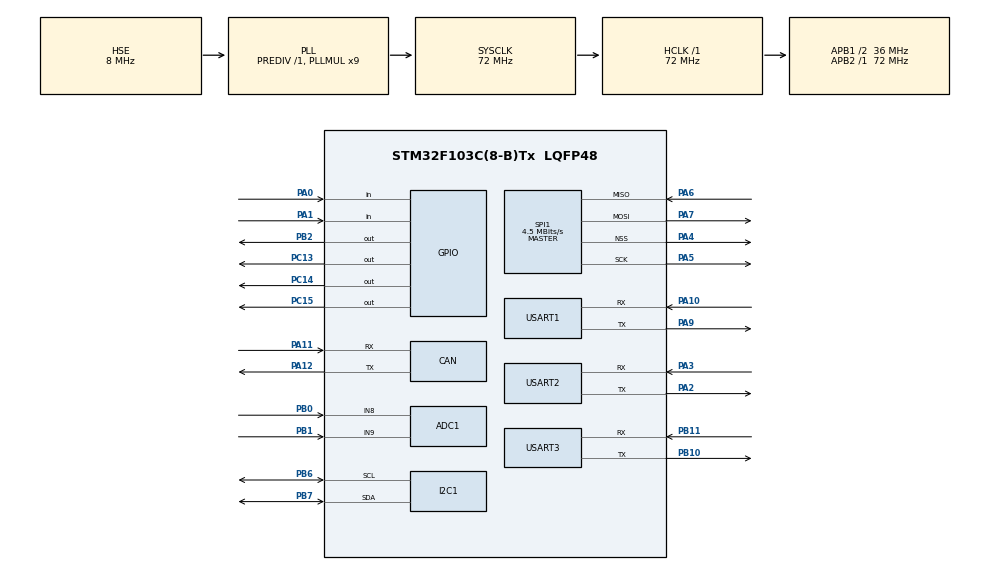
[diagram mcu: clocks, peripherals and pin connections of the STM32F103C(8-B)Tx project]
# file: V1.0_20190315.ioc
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ADC1.Channel-0\#ChannelRegularConversion=ADC_CHANNEL_9
ADC1.NbrOfConversionFlag=1
ADC1.Rank-0\#ChannelRegularConversion=1
ADC1.SamplingTime-0\#ChannelRegularConversion=ADC_SAMPLETIME_1CYCLE_5
ADC1.master=1
CAN.CalculateTimeBit=1333
CAN.CalculateTimeQuantum=444.44444444444446
Dma.ADC1.0.Direction=DMA_PERIPH_TO_MEMORY
Dma.ADC1.0.Instance=DMA1_Channel1
Dma.ADC1.0.MemDataAlignment=DMA_MDATAALIGN_HALFWORD
Dma.ADC1.0.MemInc=DMA_MINC_ENABLE
Dma.ADC1.0.Mode=DMA_NORMAL
Dma.ADC1.0.PeriphDataAlignment=DMA_PDATAALIGN_HALFWORD
Dma.ADC1.0.PeriphInc=DMA_PINC_DISABLE
Dma.ADC1.0.Priority=DMA_PRIORITY_LOW
Dma.Request0=ADC1
Dma.Request1=USART1_RX
Dma.Request2=USART1_TX
Dma.Request3=USART2_RX
Dma.Request4=USART2_TX
Dma.Request5=SPI1_RX
Dma.Request6=SPI1_TX
Dma.SPI1_RX.5.Direction=DMA_PERIPH_TO_MEMORY
Dma.SPI1_RX.5.Instance=DMA1_Channel2
Dma.SPI1_RX.5.MemDataAlignment=DMA_MDATAALIGN_BYTE
Dma.SPI1_RX.5.MemInc=DMA_MINC_ENABLE
Dma.SPI1_RX.5.Mode=DMA_NORMAL
Dma.SPI1_RX.5.PeriphDataAlignment=DMA_PDATAALIGN_BYTE
Dma.SPI1_RX.5.PeriphInc=DMA_PINC_DISABLE
Dma.SPI1_RX.5.Priority=DMA_PRIORITY_LOW
Dma.SPI1_TX.6.Direction=DMA_MEMORY_TO_PERIPH
Dma.SPI1_TX.6.Instance=DMA1_Channel3
Dma.SPI1_TX.6.MemDataAlignment=DMA_MDATAALIGN_BYTE
Dma.SPI1_TX.6.MemInc=DMA_MINC_ENABLE
Dma.SPI1_TX.6.Mode=DMA_NORMAL
Dma.SPI1_TX.6.PeriphDataAlignment=DMA_PDATAALIGN_BYTE
Dma.SPI1_TX.6.PeriphInc=DMA_PINC_DISABLE
Dma.SPI1_TX.6.Priority=DMA_PRIORITY_LOW
Dma.USART1_RX.1.Direction=DMA_PERIPH_TO_MEMORY
Dma.USART1_RX.1.Instance=DMA1_Channel5
Dma.USART1_RX.1.MemDataAlignment=DMA_MDATAALIGN_BYTE
Dma.USART1_RX.1.MemInc=DMA_MINC_ENABLE
Dma.USART1_RX.1.Mode=DMA_NORMAL
Dma.USART1_RX.1.PeriphDataAlignment=DMA_PDATAALIGN_BYTE
Dma.USART1_RX.1.PeriphInc=DMA_PINC_DISABLE
Dma.USART1_RX.1.Priority=DMA_PRIORITY_LOW
Dma.USART1_TX.2.Direction=DMA_MEMORY_TO_PERIPH
Dma.USART1_TX.2.Instance=DMA1_Channel4
Dma.USART1_TX.2.MemDataAlignment=DMA_MDATAALIGN_BYTE
Dma.USART1_TX.2.MemInc=DMA_MINC_ENABLE
Dma.USART1_TX.2.Mode=DMA_NORMAL
Dma.USART1_TX.2.PeriphDataAlignment=DMA_PDATAALIGN_BYTE
Dma.USART1_TX.2.PeriphInc=DMA_PINC_DISABLE
Dma.USART1_TX.2.Priority=DMA_PRIORITY_LOW
Dma.USART2_RX.3.Direction=DMA_PERIPH_TO_MEMORY
Dma.USART2_RX.3.Instance=DMA1_Channel6
Dma.USART2_RX.3.MemDataAlignment=DMA_MDATAALIGN_BYTE
Dma.USART2_RX.3.MemInc=DMA_MINC_ENABLE
Dma.USART2_RX.3.Mode=DMA_NORMAL
Dma.USART2_RX.3.PeriphDataAlignment=DMA_PDATAALIGN_BYTE
Dma.USART2_RX.3.PeriphInc=DMA_PINC_DISABLE
Dma.USART2_RX.3.Priority=DMA_PRIORITY_LOW
Dma.USART2_TX.4.Direction=DMA_MEMORY_TO_PERIPH
Dma.USART2_TX.4.Instance=DMA1_Channel7
Dma.USART2_TX.4.MemDataAlignment=DMA_MDATAALIGN_BYTE
Dma.USART2_TX.4.MemInc=DMA_MINC_ENABLE
Dma.USART2_TX.4.Mode=DMA_NORMAL
Dma.USART2_TX.4.PeriphDataAlignment=DMA_PDATAALIGN_BYTE
Dma.USART2_TX.4.PeriphInc=DMA_PINC_DISABLE
Dma.USART2_TX.4.Priority=DMA_PRIORITY_LOW
Mcu.Family=STM32F1
Mcu.Name=STM32F103C(8-B)Tx
Mcu.Package=LQFP48
NVIC.ADC1_2_IRQn=true\:0\:0\:false\:false\:true\:true\:true
NVIC.DMA1_Channel1_IRQn=true\:0\:0\:false\:false\:true\:false\:true
NVIC.DMA1_Channel2_IRQn=true\:0\:0\:false\:false\:true\:false\:true
NVIC.DMA1_Channel3_IRQn=true\:0\:0\:false\:false\:true\:false\:true
NVIC.DMA1_Channel4_IRQn=true\:0\:0\:false\:false\:true\:false\:true
NVIC.DMA1_Channel5_IRQn=true\:0\:0\:false\:false\:true\:false\:true
NVIC.DMA1_Channel6_IRQn=true\:0\:0\:false\:false\:true\:false\:true
NVIC.DMA1_Channel7_IRQn=true\:0\:0\:false\:false\:true\:false\:true
NVIC.I2C1_EV_IRQn=true\:0\:0\:false\:false\:true\:true\:true
NVIC.PriorityGroup=NVIC_PRIORITYGROUP_4
NVIC.SPI1_IRQn=true\:0\:0\:false\:false\:true\:true\:true
NVIC.TIM1_UP_IRQn=true\:0\:0\:false\:false\:true\:true\:true
NVIC.TIM2_IRQn=true\:0\:0\:false\:false\:true\:true\:true
NVIC.TIM3_IRQn=true\:0\:0\:false\:false\:true\:true\:true
NVIC.TIM4_IRQn=true\:0\:0\:false\:false\:true\:true\:true
NVIC.USART1_IRQn=true\:0\:0\:false\:false\:true\:true\:true
NVIC.USART2_IRQn=true\:0\:0\:false\:false\:true\:true\:true
NVIC.USART3_IRQn=true\:0\:0\:false\:false\:true\:true\:true
NVIC.USB_HP_CAN1_TX_IRQn=true\:0\:0\:false\:false\:true\:true\:true
NVIC.USB_LP_CAN1_RX0_IRQn=true\:0\:0\:false\:false\:true\:true\:true
PA0-WKUP.Signal=GPIO_Input
PA1.Signal=GPIO_Input
PA10.Mode=Asynchronous
PA10.Signal=USART1_RX
PA11.Mode=Master
PA11.Signal=CAN_RX
PA12.Mode=Master
PA12.Signal=CAN_TX
PA13.Mode=Serial_Wire
PA13.Signal=SYS_JTMS-SWDIO
PA14.Mode=Serial_Wire
PA14.Signal=SYS_JTCK-SWCLK
PA2.Mode=Asynchronous
PA2.Signal=USART2_TX
PA3.Mode=Asynchronous
PA3.Signal=USART2_RX
PA4.Mode=NSS_Signal_Hard_Output
PA4.Signal=SPI1_NSS
PA5.Mode=Full_Duplex_Master
PA5.Signal=SPI1_SCK
PA6.Mode=Full_Duplex_Master
PA6.Signal=SPI1_MISO
PA7.Mode=Full_Duplex_Master
PA7.Signal=SPI1_MOSI
PA9.Mode=Asynchronous
PA9.Signal=USART1_TX
PB0.Signal=ADCx_IN8
PB1.Signal=ADCx_IN9
PB10.Mode=Asynchronous
PB10.Signal=USART3_TX
PB11.Mode=Asynchronous
PB11.Signal=USART3_RX
PB2.Signal=GPIO_Output
PB6.Mode=I2C
PB6.Signal=I2C1_SCL
PB7.Mode=I2C
PB7.Signal=I2C1_SDA
PC13-TAMPER-RTC.Signal=GPIO_Output
PC14-OSC32_IN.Signal=GPIO_Output
PC15-OSC32_OUT.Signal=GPIO_Output
PD0-OSC_IN.Mode=HSE-External-Oscillator
PD0-OSC_IN.Signal=RCC_OSC_IN
PD1-OSC_OUT.Mode=HSE-External-Oscillator
PD1-OSC_OUT.Signal=RCC_OSC_OUT
ProjectManager.HeapSize=0x200
ProjectManager.StackSize=0x400
ProjectManager.TargetToolchain=MDK-ARM V5
RCC.ADCPresc=RCC_ADCPCLK2_DIV6
RCC.AHBFreq_Value=72000000
RCC.APB1CLKDivider=RCC_HCLK_DIV2
RCC.APB1Freq_Value=36000000
RCC.APB1TimFreq_Value=72000000
RCC.APB2Freq_Value=72000000
RCC.APB2TimFreq_Value=72000000
RCC.HCLKFreq_Value=72000000
RCC.PLLMUL=RCC_PLL_MUL9
RCC.PLLSourceVirtual=RCC_PLLSOURCE_HSE
RCC.SYSCLKFreq_VALUE=72000000
RCC.SYSCLKSource=RCC_SYSCLKSOURCE_PLLCLK
RCC.USBFreq_Value=48000000
RCC.USBPrescaler=RCC_USBCLKSOURCE_PLL_DIV1_5
SH.ADCx_IN8.0=ADC1_IN8,IN8
SH.ADCx_IN9.0=ADC1_IN9,IN9
SPI1.BaudRatePrescaler=SPI_BAUDRATEPRESCALER_16
SPI1.CalculateBaudRate=4.5 MBits/s
SPI1.Direction=SPI_DIRECTION_2LINES
SPI1.Mode=SPI_MODE_MASTER
SPI1.VirtualNSS=VM_NSSHARD
SPI1.VirtualType=VM_MASTER
USART1.VirtualMode=VM_ASYNC
USART2.VirtualMode=VM_ASYNC
USART3.VirtualMode=VM_ASYNC
VP_TIM1_VS_ClockSourceINT.Mode=Internal
VP_TIM2_VS_ClockSourceINT.Mode=Internal
VP_TIM3_VS_ClockSourceINT.Mode=Internal
VP_TIM4_VS_ClockSourceINT.Mode=Internal
board=custom

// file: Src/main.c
/* USER CODE BEGIN Header */
/**
  ******************************************************************************
  * @file           : main.c
  * @brief          : Main program body
  ******************************************************************************
  * @attention
  *
  * <h2><center>&copy; Copyright (c) 2019 STMicroelectronics.
  * All rights reserved.</center></h2>
  *
  * This software component is licensed by ST under Ultimate Liberty license
  * SLA0044, the "License"; You may not use this file except in compliance with
  * the License. You may obtain a copy of the License at:
  *                             www.st.com/SLA0044
  *
  ******************************************************************************
  */
/* USER CODE END Header */

#include "main.h"
#include "adc.h"
#include "can.h"
#include "dma.h"
#include "i2c.h"
#include "spi.h"
#include "tim.h"
#include "usart.h"
#include "gpio.h"

/* USER CODE BEGIN Includes */
#include "User_usart.h"
#include "w5500_conf.h"
#include "socket.h"
#include "w5500.h"
#include "tcp_demo.h"
/* USER CODE END Includes */

/* USER CODE BEGIN PM */
int Crc16(volatile uint8_t *ptr, int count);
/* USER CODE END PM */

/* USER CODE BEGIN PV */

void mainP(uint8_t * muchp_addr);
uint8_t ABC[4]={0X12 ,0X34 ,0X56 ,0X78 };
uint8_t *ABP = ABC;
uint8_t gucha_macrx_6[6];
uint32_t gui_mac_data=0;
uint16_t gun_mac_data=0;
uint8_t guch_mac_data=0;
/* USER CODE END PV */

void SystemClock_Config(void);
/* USER CODE BEGIN PFP */
uint8_t sent_uart1[]="this is a test for uart1\r\n";
/* USER CODE END PFP */

/* USER CODE BEGIN 0 */
extern UART_HandleTypeDef huart1;
extern UART_HandleTypeDef huart2;
extern UART_HandleTypeDef huart3;

extern SPI_HandleTypeDef hspi1;
/* USER CODE END 0 */

int main(void)
{

  /* MCU Configuration--------------------------------------------------------*/

  /* Reset of all peripherals, Initializes the Flash interface and the Systick. */
  HAL_Init();

  /* Configure the system clock */
  SystemClock_Config();

  /* USER CODE BEGIN SysInit */
 // vFN_SPI1GPIO_Init();
  vFN_W5500GPIO_Init();
  /* USER CODE END SysInit */

  /* Initialize all configured peripherals */
  MX_GPIO_Init();
  MX_DMA_Init();
  MX_ADC1_Init();
  MX_CAN_Init();
  MX_I2C1_Init();
  MX_SPI1_Init();
  MX_TIM1_Init();
  MX_TIM2_Init();
  MX_TIM3_Init();
  MX_TIM4_Init();
  MX_USART1_UART_Init();
  MX_USART2_UART_Init();
  MX_USART3_UART_Init();
  /* USER CODE BEGIN 2 */

  HAL_UART_Receive_DMA(&huart1,gT_rx1buf.ucha_rx_80,80);//接收DMA串口1，空闲中断方式接�?
  W5500_SPI1CS_ON_GPIO_LOW;

  HAL_SPI_Transmit(&hspi1, gT_rx1buf.ucha_rx_80, 1, 10);//发�??1个SPI字节，消除CLK默认低电平的错误
  W5500_SPI1CS_OFF_GPIO_HIGH;

  vFN_W5500_Set_IP();
  /* USER CODE END 2 */

  /* Infinite loop */
    while (1)
    {

    /* USER CODE BEGIN 3 */

        HAL_Delay(100);
        vFN_W5500_TCP_Client();
//        vFN_UserTx1Analy_Pro();
//       W5500_SPI1CS_ON_GPIO_LOW;
//       HAL_SPI_TransmitReceive(&hspi1, (uint8_t*)Cgch_sys_time.Cchp_data, gT_rx1buf.ucha_rx_80,Cgch_sys_time.Cuch_count, 1000);
//       W5500_SPI1CS_OFF_GPIO_HIGH;
//        mainP(ABC);
//        HAL_Delay(500);
//        mainP(ABP);
        //vFN_W5500setSHAR(gucha_mac_6);//设置MAC地址
//        vFN_W5500_Write1Baye_IO(SHAR0,0X01);
//        vFN_W5500_Write1Baye_IO(SHAR0,0X01);
//        unFN_W5500ReadBuf_IO(SHAR0,gucha_macrx_6,6);
//        vFN_W5500_Write2Baye_IO(SHAR0,0X0102);
//        unFN_W5500ReadBuf_IO(SHAR0,gucha_macrx_6,6);
//        vFN_W5500_Write4Baye_IO(SHAR0,0X01020304);
//        unFN_W5500ReadBuf_IO(SHAR0,gucha_macrx_6,6);
//        gui_mac_data = uiFN_W5500_Read4Baye_IO(SHAR0);
//        vFN_W5500getSHAR(gucha_macrx_6);
//        guch_mac_data = uchFN_W5500_Read1Baye_IO(SHAR0);
//        unFN_W5500ReadBuf_IO(SHAR0,gucha_macrx_6,6);
//        gun_mac_data = unFN_W5500_Read2Baye_IO(SHAR0);
//        unFN_W5500ReadBuf_IO(SHAR0,gucha_macrx_6,6);

    }
  /* USER CODE END 3 */
}

void SystemClock_Config(void)
{
  RCC_OscInitTypeDef RCC_OscInitStruct = {0};
  RCC_ClkInitTypeDef RCC_ClkInitStruct = {0};
  RCC_PeriphCLKInitTypeDef PeriphClkInit = {0};

  /** Initializes the CPU, AHB and APB busses clocks
  */
  RCC_OscInitStruct.OscillatorType = RCC_OSCILLATORTYPE_HSE;
  RCC_OscInitStruct.HSEState = RCC_HSE_ON;
  RCC_OscInitStruct.HSEPredivValue = RCC_HSE_PREDIV_DIV1;
  RCC_OscInitStruct.HSIState = RCC_HSI_ON;
  RCC_OscInitStruct.PLL.PLLState = RCC_PLL_ON;
  RCC_OscInitStruct.PLL.PLLSource = RCC_PLLSOURCE_HSE;
  RCC_OscInitStruct.PLL.PLLMUL = RCC_PLL_MUL9;
  if (HAL_RCC_OscConfig(&RCC_OscInitStruct) != HAL_OK)
  {
    Error_Handler();
  }
  /** Initializes the CPU, AHB and APB busses clocks
  */
  RCC_ClkInitStruct.ClockType = RCC_CLOCKTYPE_HCLK|RCC_CLOCKTYPE_SYSCLK
                              |RCC_CLOCKTYPE_PCLK1|RCC_CLOCKTYPE_PCLK2;
  RCC_ClkInitStruct.SYSCLKSource = RCC_SYSCLKSOURCE_PLLCLK;
  RCC_ClkInitStruct.AHBCLKDivider = RCC_SYSCLK_DIV1;
  RCC_ClkInitStruct.APB1CLKDivider = RCC_HCLK_DIV2;
  RCC_ClkInitStruct.APB2CLKDivider = RCC_HCLK_DIV1;

  if (HAL_RCC_ClockConfig(&RCC_ClkInitStruct, FLASH_LATENCY_2) != HAL_OK)
  {
    Error_Handler();
  }
  PeriphClkInit.PeriphClockSelection = RCC_PERIPHCLK_ADC;
  PeriphClkInit.AdcClockSelection = RCC_ADCPCLK2_DIV6;
  if (HAL_RCCEx_PeriphCLKConfig(&PeriphClkInit) != HAL_OK)
  {
    Error_Handler();
  }
}

void Error_Handler(void)
{
}

/************************ (C) COPYRIGHT STMicroelectronics *****END OF FILE****/
